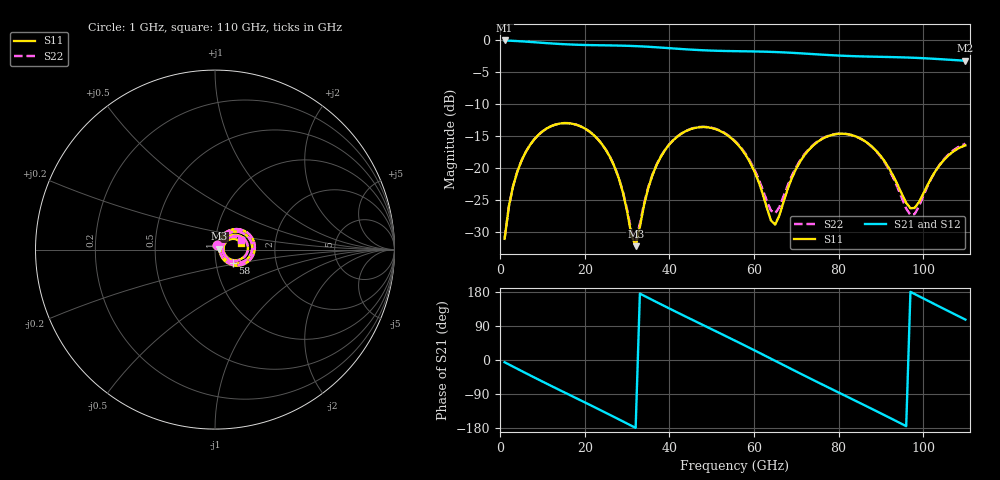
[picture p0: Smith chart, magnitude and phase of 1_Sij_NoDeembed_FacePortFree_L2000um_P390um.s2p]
! Touchstone file exported from HFSS 2024.2.0
!  File:  C:/Users/vaintrug/Documents/Ansoft_Workspace/Comparaison_Calculs_HFSS/1_VarPort.aedt
!  Generated:  03:22:19 PM Jan 21, 2025
!  Design:  1_NoDeembed_FacePortFree
!  Project:  1_VarPort
!  Setup:  Setup1
!  Solution:  Sweep
! Variables:
!  $Lenght = 2000um
!  $PortSize = 390um
!  Gap = 30um
!  Th = 2um
!  X_centralStrip = 20um
!  X_masse = 200um
!  Y_Sub = 2mm
!  Z_Box = 400um
!  Z_Sub = 200um
# GHz S MA R 50.000000
! Terminal data exported
! Port[1] = 1
! Port[2] = 2
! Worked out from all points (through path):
!   110 points, 1 GHz to 110 GHz, reference 50 ohm
!   highest |S21| = -0.13 dB at 1 GHz (marker M1); lowest = -3.3 dB at 110 GHz (marker M2)
!   group delay of S21, straight-line fit = 15.4 ps
!   lowest |S11| = -32.3 dB at 32 GHz (marker M3), VSWR 1.05, Z = 52.4 + j0.5 ohm
!   |S11| at or under -10 dB: start of sweep to end of sweep
!   |S22| runs from -31.4 to -13.0 dB; largest |S21 - S12| = 2.5e-15
!   S11 on the Smith chart (normalised r, x): 1 GHz: 1.03, +0.05; 58 GHz: 1.21, -0.19; 110 GHz: 1.33, +0.10
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1  0.02776 61.3  0.9854 -5.9  0.9854 -5.9  0.02776 61.3
! Gamma 5.84777338263719 49.810499644891 5.86863627933202 49.8001767360226
! Port Impedance 50 0 50 0
3  0.07147 65.7  0.9783 -17.4  0.9783 -17.4  0.07146 65.8
7  0.1501 48.7  0.9599 -40.3  0.9599 -40.3  0.1501 48.8
13  0.2167 17.8  0.9295 -73.7  0.9295 -73.7  0.2168 18.1
20  0.2019 -17.4  0.9085 -112.0  0.9085 -112.0  0.2021 -16.8
27  0.1015 -47.3  0.9 -150.9  0.9 -150.9  0.1021 -45.8
32  0.02431 11.3  0.8898 -179.2  0.8898 -179.2  0.02697 10.8
35  0.06956 56.2  0.8796 163.8  0.8796 163.8  0.07064 54.5
38  0.1223 49.4  0.8669 146.9  0.8669 146.9  0.123 48.6
43  0.1858 28.0  0.8441 119.2  0.8441 119.2  0.1864 28.0
47  0.2068 9.6  0.829 97.4  0.829 97.4  0.2075 9.9
56  0.1536 -29.9  0.8123 48.3  0.8123 48.3  0.1553 -28.0
58  0.126 -36.8  0.8105 37.2  0.8105 37.2  0.1282 -34.3
65  0.03585 7.8  0.8001 -2.2  0.8001 -2.2  0.0439 6.0
70  0.09847 45.0  0.7853 -30.4  0.7853 -30.4  0.1014 40.4
74  0.149 33.0  0.7707 -52.7  0.7707 -52.7  0.1506 29.9
83  0.1799 -4.1  0.7439 -102.2  0.7439 -102.2  0.18 -6.0
92  0.098 -32.3  0.7314 -152.0  0.7314 -152.0  0.09551 -34.5
96  0.053 -17.0  0.7253 -174.6  0.7253 -174.6  0.04777 -17.9
98  0.04837 9.9  0.7211 174.1  0.7211 174.1  0.04336 14.4
104  0.1054 33.5  0.704 140.1  0.704 140.1  0.1063 39.2
110  0.1491 14.2  0.6842 106.6  0.6842 106.6  0.1536 20.4
